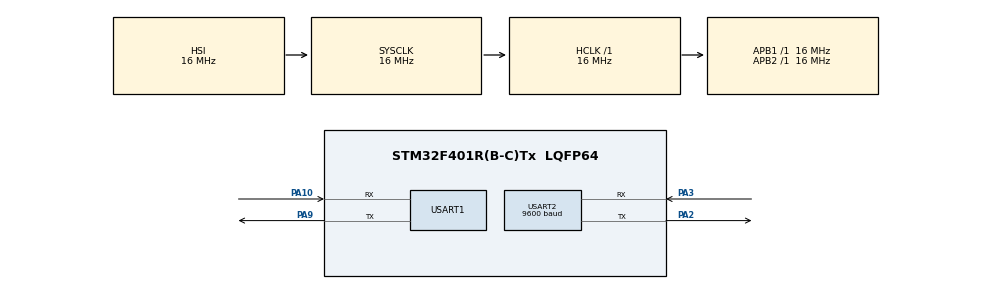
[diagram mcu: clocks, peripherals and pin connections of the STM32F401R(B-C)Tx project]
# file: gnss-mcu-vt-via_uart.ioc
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Mcu.Family=STM32F4
Mcu.Name=STM32F401R(B-C)Tx
Mcu.Package=LQFP64
NVIC.PriorityGroup=NVIC_PRIORITYGROUP_4
PA10.Mode=Asynchronous
PA10.Signal=USART1_RX
PA2.Mode=Asynchronous
PA2.Signal=USART2_TX
PA3.Mode=Asynchronous
PA3.Signal=USART2_RX
PA9.Mode=Asynchronous
PA9.Signal=USART1_TX
ProjectManager.HeapSize=0x200
ProjectManager.StackSize=0x400
ProjectManager.TargetToolchain=STM32CubeIDE
RCC.AHBFreq_Value=16000000
RCC.APB1Freq_Value=16000000
RCC.APB2Freq_Value=16000000
RCC.CortexFreq_Value=16000000
RCC.HSE_VALUE=25000000
RCC.HSI_VALUE=16000000
RCC.LSE_VALUE=32768
RCC.SYSCLKFreq_VALUE=16000000
RCC.VCOOutputFreq_Value=192000000
USART1.VirtualMode=VM_ASYNC
USART2.BaudRate=9600
USART2.VirtualMode=VM_ASYNC
board=custom

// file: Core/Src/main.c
/* USER CODE BEGIN Header */
/**
  ******************************************************************************
  * @file           : main.c
  * @brief          : Main program body
  ******************************************************************************
  * @attention
  *
  * Copyright (c) 2022 STMicroelectronics.
  * All rights reserved.
  *
  * This software is licensed under terms that can be found in the LICENSE file
  * in the root directory of this software component.
  * If no LICENSE file comes with this software, it is provided AS-IS.
  *
  ******************************************************************************
  */
/* USER CODE END Header */
#include "main.h"

/* USER CODE BEGIN Includes */
#include "stdio.h"
#include "limits.h"
#include "stdbool.h"
#define inputSize (160) // wave your hands in the air like you don't care

/* USER CODE END Includes */

 UART_HandleTypeDef huart1;
UART_HandleTypeDef huart2;

void SystemClock_Config(void);
static void MX_GPIO_Init(void);
static void MX_USART1_UART_Init(void);
static void MX_USART2_UART_Init(void);

/* USER CODE BEGIN 0 */
char parseResult[] = "\nlatitude is .. ........, longitude is ... ........, height is ......... M\r\n";
char permParseResult[] = "\nlatitude is .. ........, longitude is ... ........, height is ......... M\r\n";

int parseGNSS(uint8_t input[inputSize]){ // we want to find $GPGGA because it contains height, then parse it to spit out the longitude, latitude, height.
	int64_t start = INT_MAX - 1;
	int64_t temp_iter;
	char currentProtocol[6];
	bool identical = true;
	for (int i = 0; i < inputSize; i++){
		if (input[i] == '$'){
			for (int j = i; (j < (i + 6)) && (j < inputSize); j++){
				currentProtocol[j-i] = input[j];
				temp_iter = j;
			}
			if (temp_iter >= inputSize) printf("\nmoved over the edge of the input, trying to find the $GPwhatever, j >= inputSize\r\n");
			for (int j = 0; j < 6; j++){
				if (currentProtocol[j] != "$GPGGA"[j]) identical = false;
			}
			if (identical) {
				start = i;
				break;
			}
			else identical = true;
		}
	}
	// parsing
	if (start == INT_MAX - 1){
		printf("\nparsing failed, start == INT_MAX - 1\r\n");
		return 10;
	}
	int64_t pointer = start;
	while (input[pointer] != ',' && (pointer < inputSize)) {pointer++;} // skip $GPGGA,
	pointer++;
	while (input[pointer] != ',' && (pointer < inputSize)) {pointer++;} // skip time,
	pointer++;

	if (input[pointer] == ',') {} // latitude is missing
	else { // latitude
		parseResult[13] = input[pointer++]; // this is bad, because no && (pointer < inputSize), but ok
		parseResult[14] = input[pointer++];
		parseResult[16] = input[pointer++];
		parseResult[17] = input[pointer++];
		parseResult[18] = input[pointer++];
		parseResult[19] = input[pointer++];
		parseResult[20] = input[pointer++];
		parseResult[21] = input[pointer++];
		parseResult[22] = input[pointer++];
	}
	pointer++;
	//printf("%s\n\n", parseResult); //debug
	if (input[pointer] != ',') { // make sure that north/south isn't missing
		parseResult[23] = input[pointer];
	}
	//printf("%s\n\n", parseResult);//debug
	pointer += 2;

	if (input[pointer] == ',') {} // longitude is missing
	else { // latitude
		parseResult[39] = input[pointer++];
		parseResult[40] = input[pointer++];
		parseResult[41] = input[pointer++];
		parseResult[43] = input[pointer++];
		parseResult[44] = input[pointer++];
		parseResult[45] = input[pointer++];
		parseResult[46] = input[pointer++];
		parseResult[47] = input[pointer++];
		parseResult[48] = input[pointer++];
		parseResult[49] = input[pointer++];
	}
	pointer++;
	if (input[pointer] != ',') { // make sure that hemisphere isn't missing
		parseResult[50] = input[pointer++];
	}
	pointer++;

	while (input[pointer] != ',' && (pointer < inputSize)) {pointer++;} // skip mode,
	pointer++;
	while (input[pointer] != ',' && (pointer < inputSize)) {pointer++;} // skip number of used sattelites,
	pointer++;
	while (input[pointer] != ',' && (pointer < inputSize)) {pointer++;} // skip HDOP, whatever it is
	pointer++;
	// height
	for (int i = pointer; ((i - pointer) < 9) && (i < inputSize); i++){ // pointer+1 because I wanna to put ">" in there if there are too many symbols.
		if (input[i] == ',') break;
		parseResult[63 + i - pointer] = input[i];
		//printf(" i is %u input[i] is %c\r\n", i, input[i]); //debug
	}

	if (pointer >= inputSize){
		printf("\nparsing failed, pointer >= inputSize\r\n");
		return 20;
	}

	return 0;
}
/* USER CODE END 0 */

int main(void)
{

  /* MCU Configuration--------------------------------------------------------*/

  /* Reset of all peripherals, Initializes the Flash interface and the Systick. */
  HAL_Init();

  /* Configure the system clock */
  SystemClock_Config();

  /* Initialize all configured peripherals */
  MX_GPIO_Init();
  MX_USART1_UART_Init();
  MX_USART2_UART_Init();
  /* USER CODE BEGIN 2 */
  uint8_t input[inputSize];
  printf("hello\n\n");
  /* USER CODE END 2 */

  /* Infinite loop */
  while (1)
  {

    /* USER CODE BEGIN 3 */
	//scanf("%s\n", input);
	HAL_Delay(100); // for some reason gnss sends garbage or useless (for the task) data after startup, so delay.
	HAL_UART_Receive(&huart2, input, sizeof(input)/sizeof(input[0]), 1000);
	int j = parseGNSS(input);
	printf("%s\n\n", parseResult);
	for (int i = 0; i < sizeof(permParseResult)/sizeof(permParseResult[0]); i++){
		parseResult[i] = permParseResult[i];
	}
  }
  /* USER CODE END 3 */
}

void SystemClock_Config(void)
{
  RCC_OscInitTypeDef RCC_OscInitStruct = {0};
  RCC_ClkInitTypeDef RCC_ClkInitStruct = {0};

  /** Configure the main internal regulator output voltage
  */
  __HAL_RCC_PWR_CLK_ENABLE();
  __HAL_PWR_VOLTAGESCALING_CONFIG(PWR_REGULATOR_VOLTAGE_SCALE2);

  /** Initializes the RCC Oscillators according to the specified parameters
  * in the RCC_OscInitTypeDef structure.
  */
  RCC_OscInitStruct.OscillatorType = RCC_OSCILLATORTYPE_HSI;
  RCC_OscInitStruct.HSIState = RCC_HSI_ON;
  RCC_OscInitStruct.HSICalibrationValue = RCC_HSICALIBRATION_DEFAULT;
  RCC_OscInitStruct.PLL.PLLState = RCC_PLL_NONE;
  if (HAL_RCC_OscConfig(&RCC_OscInitStruct) != HAL_OK)
  {
    Error_Handler();
  }

  /** Initializes the CPU, AHB and APB buses clocks
  */
  RCC_ClkInitStruct.ClockType = RCC_CLOCKTYPE_HCLK|RCC_CLOCKTYPE_SYSCLK
                              |RCC_CLOCKTYPE_PCLK1|RCC_CLOCKTYPE_PCLK2;
  RCC_ClkInitStruct.SYSCLKSource = RCC_SYSCLKSOURCE_HSI;
  RCC_ClkInitStruct.AHBCLKDivider = RCC_SYSCLK_DIV1;
  RCC_ClkInitStruct.APB1CLKDivider = RCC_HCLK_DIV1;
  RCC_ClkInitStruct.APB2CLKDivider = RCC_HCLK_DIV1;

  if (HAL_RCC_ClockConfig(&RCC_ClkInitStruct, FLASH_LATENCY_0) != HAL_OK)
  {
    Error_Handler();
  }
}

static void MX_USART1_UART_Init(void)
{

  huart1.Instance = USART1;
  huart1.Init.BaudRate = 115200;
  huart1.Init.WordLength = UART_WORDLENGTH_8B;
  huart1.Init.StopBits = UART_STOPBITS_1;
  huart1.Init.Parity = UART_PARITY_NONE;
  huart1.Init.Mode = UART_MODE_TX_RX;
  huart1.Init.HwFlowCtl = UART_HWCONTROL_NONE;
  huart1.Init.OverSampling = UART_OVERSAMPLING_16;
  if (HAL_UART_Init(&huart1) != HAL_OK)
  {
    Error_Handler();
  }

}

static void MX_USART2_UART_Init(void)
{

  huart2.Instance = USART2;
  huart2.Init.BaudRate = 9600;
  huart2.Init.WordLength = UART_WORDLENGTH_8B;
  huart2.Init.StopBits = UART_STOPBITS_1;
  huart2.Init.Parity = UART_PARITY_NONE;
  huart2.Init.Mode = UART_MODE_TX_RX;
  huart2.Init.HwFlowCtl = UART_HWCONTROL_NONE;
  huart2.Init.OverSampling = UART_OVERSAMPLING_16;
  if (HAL_UART_Init(&huart2) != HAL_OK)
  {
    Error_Handler();
  }

}

static void MX_GPIO_Init(void)
{

  /* GPIO Ports Clock Enable */
  __HAL_RCC_GPIOA_CLK_ENABLE();

}

/* USER CODE BEGIN 4 */
int __io_putchar(int ch) {
	HAL_UART_Transmit(&huart1, &ch, sizeof(ch), 1000);
	return ch;
}

int __io_getchar(void){
	uint8_t data;
	HAL_UART_Receive(&huart2, &data, sizeof(data), 1000);
	return data;
}
/* USER CODE END 4 */

void Error_Handler(void)
{
  __disable_irq();
  while (1)
  {
  }
}
